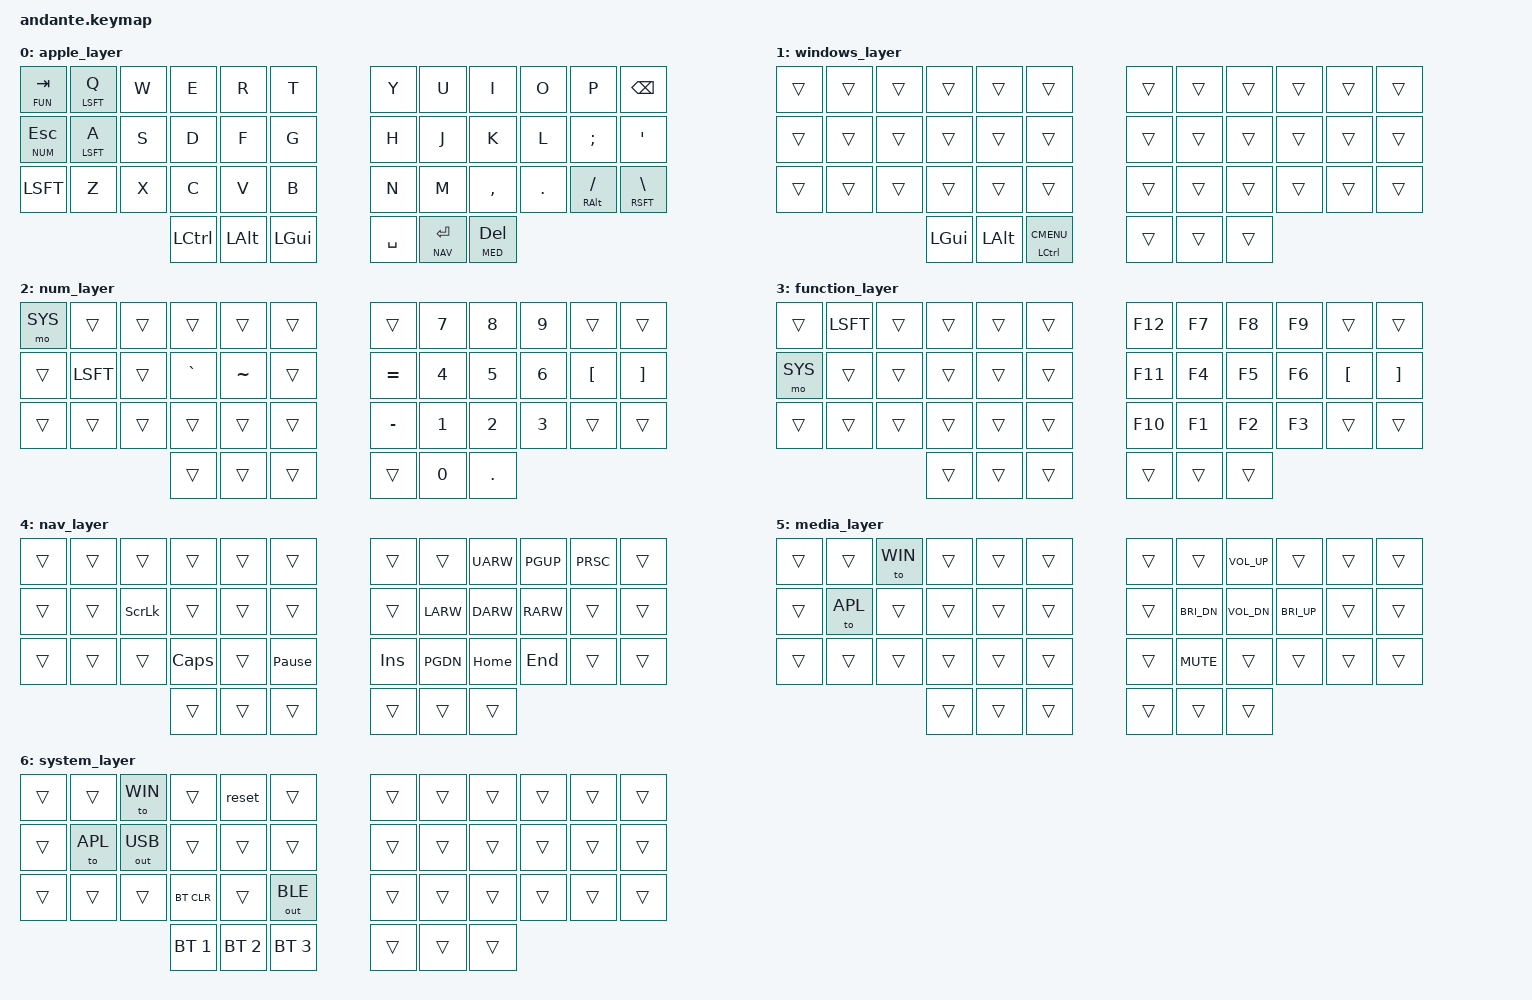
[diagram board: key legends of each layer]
#include <behaviors.dtsi>
#include <dt-bindings/zmk/bt.h>
#include <dt-bindings/zmk/keys.h>
#include <dt-bindings/zmk/outputs.h>

#define APL 0
#define WIN 1
#define NUM 2
#define FUN 3
#define NAV 4
#define MED 5
#define SYS 6

/ {

// Using a combo to trigger shift + num_layer doesn't work well because the combo
// "consumes" both key-down events, so releasing one of the two combo keys fully
// disengages both the shift and the num_layer hold beaviors.
/*
    combos {
        compatible = "zmk,combos";
        combo_shifted_num {
            timeout-ms = <50>;
            key-positions = <12 13>;
            bindings = <&mo SNM>;
            //bindings = <&mo NUM &kp J>;
        };
    };
*/

    behaviors {
        hlt: hold_preferred_layer_tap {
			compatible = "zmk,behavior-hold-tap";
			label = "HOLD_PREFERRED_LAYER_TAP";
			#binding-cells = <2>;
			flavor = "hold-preferred";
			tapping_term_ms = <200>;
			bindings = <&mo>, <&kp>;
		};

        // I tried using a slow, tap-preferred layer tap on Q to trigger a 
        // (shift + fun_layer), with Tab still hold-tapping Tab + fun_layer.
        // This doesn't work because it is still key-press order dependent.
        // Q + Tab + J results in Shift_Fun -> Fun -> F4, instead of Shifted(F4) as desired.
        /*
        stl: slow_tap_preferred_layer_tap {
			compatible = "zmk,behavior-hold-tap";
			label = "FAST_TAP_PREFERRED_LAYER_TAP";
			#binding-cells = <2>;
			flavor = "tap-preferred";
			tapping_term_ms = <300>;
			bindings = <&mo>, <&kp>;
		};
        */

        tmt: tap_preferred_mod_tap {
			compatible = "zmk,behavior-hold-tap";
			label = "TAP_PREFERRED_MOD_TAP";
			#binding-cells = <2>;
			flavor = "tap-preferred";
			//tapping_term_ms = <200>; // slightly slow, sometimes getting "a-" instead of "_"
			//tapping_term_ms = <100>; // too fast, getting accidental shifted letters, e.g. "part" becomes "pRt" accidentally
			//tapping_term_ms = <150>; // still too fast for me
            tapping_term_ms = <200>;   // 175 could probably work as well, but let's see if I can train myself to use 200
			bindings = <&kp>, <&kp>;
		};
    };

    keymap {
        compatible = "zmk,keymap";

        apple_layer {
            bindings = <
    &hlt FUN TAB  &tmt LSFT Q  &kp W  &kp E  &kp R  &kp T  /**/  &kp Y   &kp U   &kp I     &kp O    &kp P           &kp BKSP
    &hlt NUM ESC  &tmt LSFT A  &kp S  &kp D  &kp F  &kp G  /**/  &kp H   &kp J   &kp K     &kp L    &kp SCLN        &kp QUOT
    &kp LSFT      &kp Z        &kp X  &kp C  &kp V  &kp B  /**/  &kp N   &kp M   &kp CMMA  &kp DOT  &mt RALT FSLH   &mt RSFT BSLH
                         &kp LCTL    &kp LALT    &kp LGUI  /**/  &kp SPC    &hlt NAV RET    &hlt MED DEL
            >;
        };

        windows_layer {
            bindings = <
    &trans  &trans  &trans  &trans    &trans    &trans            /**/  &trans  &trans  &trans  &trans  &trans  &trans
    &trans  &trans  &trans  &trans    &trans    &trans            /**/  &trans  &trans  &trans  &trans  &trans  &trans
    &trans  &trans  &trans  &trans    &trans    &trans            /**/  &trans  &trans  &trans  &trans  &trans  &trans
                            &kp LGUI  &kp LALT  &mt LCTL K_CMENU  /**/  &trans  &trans  &trans
            >;
        };

        num_layer {
            bindings = <
    &mo SYS  &trans    &trans  &trans    &trans     &trans  /**/  &trans     &kp NUM_7  &kp NUM_8  &kp NUM_9  &trans    &trans
    &trans   &kp LSFT  &trans  &kp GRAV  &kp TILDE  &trans  /**/  &kp EQL    &kp NUM_4  &kp NUM_5  &kp NUM_6  &kp LBKT  &kp RBKT
    &trans   &trans    &trans  &trans    &trans     &trans  /**/  &kp MINUS  &kp NUM_1  &kp NUM_2  &kp NUM_3  &trans    &trans
                               &trans    &trans     &trans  /**/  &trans     &kp NUM_0  &kp DOT
            >;
        };

        function_layer {
            bindings = <
    &trans   &kp LSFT  &trans   &trans   &trans   &trans  /**/  &kp F12   &kp F7   &kp F8   &kp F9   &trans     &trans
    &mo SYS  &trans    &trans   &trans   &trans   &trans  /**/  &kp F11   &kp F4   &kp F5   &kp F6   &kp LBKT   &kp RBKT
    &trans   &trans    &trans   &trans   &trans   &trans  /**/  &kp F10   &kp F1   &kp F2   &kp F3   &trans     &trans
                                &trans   &trans   &trans  /**/  &trans    &trans   &trans
            >;
        };

        nav_layer {
            bindings = <
    &trans  &trans  &trans    &trans    &trans  &trans           /**/  &trans   &trans    &kp UARW  &kp PGUP  &kp PRSC  &trans
    &trans  &trans  &kp SLCK  &trans    &trans  &trans           /**/  &trans   &kp LARW  &kp DARW  &kp RARW  &trans    &trans
    &trans  &trans  &trans    &kp CLCK  &trans  &kp PAUSE_BREAK  /**/  &kp INS  &kp PGDN  &kp HOME  &kp END   &trans    &trans
                              &trans    &trans  &trans           /**/  &trans   &trans    &trans
            >;
        };

        media_layer {
            bindings = <
    &trans  &trans   &to WIN  &trans  &trans  &trans  /**/  &trans  &trans        &kp C_VOL_UP  &trans        &trans  &trans
    &trans  &to APL  &trans   &trans  &trans  &trans  /**/  &trans  &kp C_BRI_DN  &kp C_VOL_DN  &kp C_BRI_UP  &trans  &trans
    &trans  &trans   &trans   &trans  &trans  &trans  /**/  &trans  &kp C_MUTE    &trans        &trans        &trans  &trans
                              &trans  &trans  &trans  /**/  &trans  &trans        &trans
            >;
        };

        system_layer {
            bindings = <
    &trans  &trans   &to WIN      &trans       &reset       &trans       /**/  &trans  &trans  &trans  &trans  &trans  &trans
    &trans  &to APL  &out OUT_USB &trans       &trans       &trans       /**/  &trans  &trans  &trans  &trans  &trans  &trans
    &trans  &trans   &trans       &bt BT_CLR   &trans       &out OUT_BLE /**/  &trans  &trans  &trans  &trans  &trans  &trans
                                  &bt BT_SEL 1 &bt BT_SEL 2 &bt BT_SEL 3 /**/  &trans  &trans  &trans
            >;
        };

    };
};
